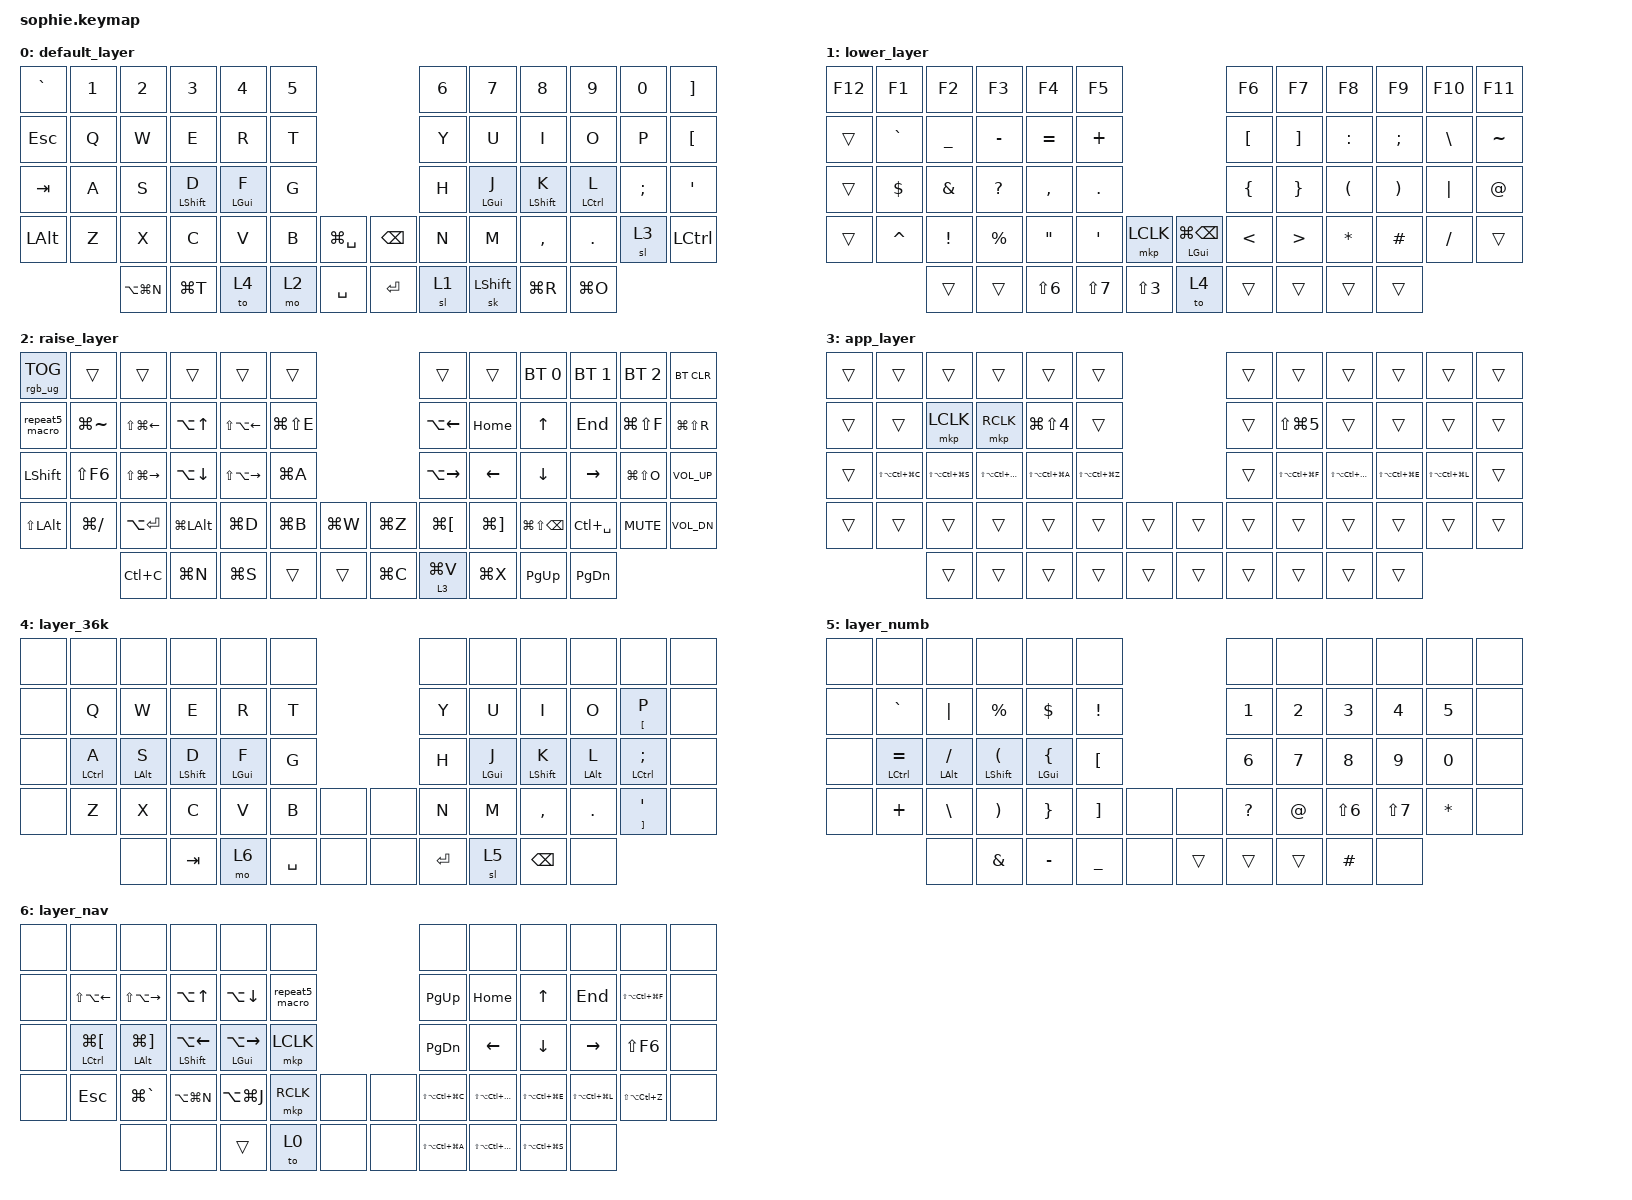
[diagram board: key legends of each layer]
/*
 * Copyright (c) 2020 The ZMK Contributors
 *
 * SPDX-License-Identifier: MIT
 */

#include <behaviors.dtsi>
#include <dt-bindings/zmk/bt.h>
#include <dt-bindings/zmk/keys.h>
#include <dt-bindings/zmk/mouse.h>
#include <dt-bindings/zmk/rgb.h>

/ {
    macros {
        lm: lm {
            compatible = "zmk,behavior-macro-two-param";
            wait-ms = <0>;
            tap-ms = <0>;
            #binding-cells = <2>;
            bindings =
                <&macro_param_1to1>,
                <&macro_press>,
                <&mo MACRO_PLACEHOLDER &macro_param_2to1>,
                <&macro_press>,
                <&kp MACRO_PLACEHOLDER>,
                <&macro_pause_for_release>,
                <&macro_param_2to1>,
                <&macro_release>,
                <&kp MACRO_PLACEHOLDER &macro_param_1to1>,
                <&macro_release>,
                <&mo MACRO_PLACEHOLDER>;
        };

        repeat5_macro: repeat5_macro {
            compatible = "zmk,behavior-macro";
            #binding-cells = <0>;
            bindings = <&key_repeat &key_repeat &key_repeat &key_repeat &key_repeat>;
            label = "REPEAT5_MACRO";
        };
    };

    combos { compatible = "zmk,combos"; };

    behaviors {
        hmr: hmr {
            compatible = "zmk,behavior-hold-tap";
            label = "HMR";
            bindings = <&kp>, <&kp>;

            #binding-cells = <2>;
            tapping-term-ms = <280>;
            quick-tap-ms = <175>;
            flavor = "balanced";
            hold-trigger-on-release;
            hold-trigger-key-positions = <0 1 2 3 4 5 12 13 14 15 16 17 24 25 26 27 28 29 36 37 38 39 40 41 42 50 51 52 53 54 55 56 57 58 59 43>;
        };

        hml: hml {
            compatible = "zmk,behavior-hold-tap";
            label = "HML";
            bindings = <&kp>, <&kp>;

            #binding-cells = <2>;
            tapping-term-ms = <280>;
            quick-tap-ms = <175>;
            flavor = "balanced";
            hold-trigger-on-release;
            hold-trigger-key-positions = <6 7 8 9 10 11 18 19 20 21 22 23 30 31 32 33 34 35 44 45 46 47 48 49 55 56 57 58 59 43 42 50 51 52 53 54>;
        };
    };

    keymap {
        compatible = "zmk,keymap";

        default_layer {
            // |-------+-------+-------+-------+-------+-------|                                    |-------+-------+-------+-------+-------+-------|
            // |   ~   |   !   |   @   |   #   |   $   |   %   |                                    |   ^   |   &   |   *   |   (   |   )   |   }   |
            // |   `   |   1   |   2   |   3   |   4   |   5   |                                    |   6   |   7   |   8   |   9   |   0   |   ]   |
            // |-------+-------+-------+-------+-------+-------|                                    |-------+-------+-------+-------+-------+-------|
            // |  ESC  |   Q   |   W   |   E   |   R   |   T   |                                    |   Y   |   U   |   I   |   O   |   P   |   {   |
            // |       |       |       |       |       |       |                                    |       |       |       |       |       |   [   |
            // |-------+-------+-------+-------+-------+-------|                                    |-------+-------+-------+-------+-------+-------|
            // |  TAB  |   A   |   S   |   D   |   F   |   G   |                                    |   H   |   J   |   K   |   L   |   :   |   "   |
            // |       |       |       |       |       |       |                                    |       |       |       |       |   ;   |   '   |
            // |-------+-------+-------+-------+-------+-------+-------|                    |-------+-------+-------+-------+-------+-------+-------|
            // |  ALT  |   Z   |   X   |   C   |   V   |   B   | LANG  |                    | BKSPC |   N   |   M   |   <   |   >   | MUTE  | CTRL  |
            // |       |       |       |       |       |       |       |                    |       |       |       |   ,   |   .   |       |       |
            // |-------+-------+-------+-------+-------+-------+-------+-------|    |-------+-------+-------+-------+-------+-------+-------+-------|
            //                         | PASTE | COPY  |  GUI  | RAISE | SPACE |    | ENTER | LOWER | SHIFT | UNDO  |  CUT  |
            //                         |       |       |       |       |       |    |       |       |       |       |       |
            //                         |-------+-------+-------+-------+-------|    |-------+-------+-------+-------+-------|

            bindings = <
&kp GRAVE  &kp N1  &kp N2         &kp N3            &kp N4      &kp N5                            &kp N6  &kp N7      &kp N8            &kp N9              &kp N0    &kp RBKT
&kp ESC    &kp Q   &kp W          &kp E             &kp R       &kp T                             &kp Y   &kp U       &kp I             &kp O               &kp P     &kp LBKT
&kp TAB    &kp A   &kp S          &mt LEFT_SHIFT D  &mt LGUI F  &kp G                             &kp H   &mt LGUI J  &mt LEFT_SHIFT K  &mt LEFT_CONTROL L  &kp SEMI  &kp SQT
&kp LALT   &kp Z   &kp X          &kp C             &kp V       &kp B   &kp LG(SPACE)  &kp BSPC   &kp N   &kp M       &kp COMMA         &kp DOT             &sl 3     &kp LCTRL
                   &kp LA(LG(N))  &kp LG(T)         &to 4       &mo 2   &kp SPACE      &kp ENTER  &sl 1   &sk LSHFT   &kp LG(R)         &kp LG(O)
            >;
        };

        lower_layer {
            // |-------+-------+-------+-------+-------+-------|                                    |-------+-------+-------+-------+-------+-------|
            // |  F12  |   F1  |   F2  |   F3  |   F4  |   F5  |                                    |   F6  |   F7  |   F8  |   F9  |   F10 |   F11 |
            // |       |       |       |       |       |       |                                    |       |       |       |       |       |       |
            // |-------+-------+-------+-------+-------+-------|                                    |-------+-------+-------+-------+-------+-------|
            // |  ESC  |   `   |   _   |   -   |   =   |   +   |                                    |   [   |   ]   |   :   |   ;   |   \   |   ~   |
            // |       |       |       |       |       |       |                                    |       |       |       |       |       |       |
            // |-------+-------+-------+-------+-------+-------|                                    |-------+-------+-------+-------+-------+-------|
            // |  TAB  |   $   |   &   |   ?   |   ,   |   .   |                                    |   {   |   }   |   (   |   )   |   |   |   @   |
            // |       |       |       |       |       |       |                                    |       |       |       |       |       |       |
            // |-------+-------+-------+-------+-------+-------+-------|                    |-------+-------+-------+-------+-------+-------+-------|
            // |  ALT  |   ^   |   !   |   %   |   "   |   '   | COPY  |                    | PASTE |   <   |   >   |   *   |   #   |   /   | PAUSE |
            // |       |       |       |       |       |       |       |                    |       |       |       |       |       |       |       |
            // |-------+-------+-------+-------+-------+-------+-------+-------|    |-------+-------+-------+-------+-------+-------+-------+-------|
            //                         | PASTE | COPY  |  GUI  | RAISE | SPACE |    | ENTER | LOWER | SHIFT | UNDO  |  CUT  |
            //                         |       |       |       |       |       |    |       |       |       |       |       |
            //                         |-------+-------+-------+-------+-------|    |-------+-------+-------+-------+-------|

            bindings = <
&kp F12  &kp F1     &kp F2     &kp F3     &kp F4      &kp F5                                              &kp F6    &kp F7    &kp F8     &kp F9    &kp F10   &kp F11
&trans   &kp GRAVE  &kp UNDER  &kp MINUS  &kp EQUAL   &kp PLUS                                            &kp LBKT  &kp RBKT  &kp COLON  &kp SEMI  &kp BSLH  &kp TILDE
&trans   &kp DLLR   &kp AMPS   &kp QMARK  &kp COMMA   &kp DOT                                             &kp LBRC  &kp RBRC  &kp LPAR   &kp RPAR  &kp PIPE  &kp AT
&trans   &kp CARET  &kp EXCL   &kp PRCNT  &kp DQT     &kp SQT     &mkp LCLK   &mt LEFT_GUI LG(BACKSPACE)  &kp LT    &kp GT    &kp STAR   &kp HASH  &kp FSLH  &trans
                    &trans     &trans     &kp LS(N6)  &kp LS(N7)  &kp LS(N3)  &to 4                       &trans    &trans    &trans     &trans
            >;
        };

        raise_layer {
            // |-------+-------+-------+-------+-------+-------|                                    |-------+-------+-------+-------+-------+-------|
            // | RGB   |  1    |    2  | SCRN  |  SCRN |  SCRN |                                    |   ^   |   &   |  BT0  |  BT1  |  BT2  |  BT   |
            // |       |       |       |   3   |   4   |   5   |                                    |   6   |   7   |       |       |       | CLEAR |
            // |-------+-------+-------+-------+-------+-------|                                    |-------+-------+-------+-------+-------+-------|
            // |  ESC  | SWITCH|SEL ALL| UNSEL |SEL WRD|NXT WRD|                                    |REPLACE|  HOME |   UP  |  END  |  PGUP | PAUSE |
            // |       | WINDOW|  LEFT | SCOPE |  LEFT |  LEFT |                                    |       |       |       |       |       |   [   |
            // |-------+-------+-------+-------+-------+-------|                                    |-------+-------+-------+-------+-------+-------|
            // |  TAB  | RENAME|SEL ALL|  SEL  |SEL WRD|NXT WRD|                                    |  LAST |  LEFT |  DOWN | RIGHT |  PGDN |  VOL  |
            // |       |       | RIGHT | SCOPE | RIGHT | RIGHT |                                    |  EDIT |       |       |       |       |  UP   |
            // |-------+-------+-------+-------+-------+-------+-------|                    |-------+-------+-------+-------+-------+-------+-------|
            // |  ALT  |COMMENT|COMMENT| GO TO |CHANGE | DPLCT |COPY   |                    | PASTE | PREV  | NEXT  | SHOW  | SHOW  | MUTE  |  VOL  |
            // |       |       |BLOCK  | SRC   |LINE   |       |       |                    |       | PLACE | PLACE | NEXT  | VARS  |       |  DOWN |
            // |-------+-------+-------+-------+-------+-------+-------+-------|    |-------+-------+-------+-------+-------+-------+-------+-------|
            //                         | PASTE | COPY  |  GUI  | RAISE | SPACE |    |IMPORTS| LOWER | SHIFT | UNDO  |  CUT  |
            //                         |       |       |       |       |       |    |       |       |       |       |       |
            //                         |-------+-------+-------+-------+-------|    |-------+-------+-------+-------+-------|

            bindings = <
&rgb_ug RGB_TOG  &trans         &trans             &trans        &trans             &trans                               &trans         &trans        &bt BT_SEL 0      &bt BT_SEL 1   &bt BT_SEL 2   &bt BT_CLR
&repeat5_macro   &kp LG(TILDE)  &kp LS(LG(LEFT))   &kp LA(UP)    &kp LS(LA(LEFT))   &kp LG(LS(E))                        &kp LA(LEFT)   &kp HOME      &kp UP            &kp END        &kp LG(LS(F))  &kp LG(LS(R))
&kp LEFT_SHIFT   &kp LS(F6)     &kp LS(LG(RIGHT))  &kp LA(DOWN)  &kp LS(LA(RIGHT))  &kp LG(A)                            &kp LA(RIGHT)  &kp LEFT      &kp DOWN          &kp RIGHT      &kp LG(LS(O))  &kp C_VOL_UP
&kp LS(LALT)     &kp LG(FSLH)   &kp LA(ENTER)      &kp LG(LALT)  &kp LG(D)          &kp LG(B)      &kp LG(W)  &kp LG(Z)  &kp LG(LBKT)   &kp LG(RBKT)  &kp LG(LS(BSPC))  &kp LC(SPACE)  &kp C_MUTE     &kp C_VOL_DN
                                &kp LC(C)          &kp LG(N)     &kp LG(S)          &trans         &trans     &kp LG(C)  &lt 3 LG(V)    &kp LG(X)     &kp PAGE_UP       &kp PAGE_DOWN
            >;
        };

        app_layer {
            bindings = <
&trans  &trans                 &trans                 &trans                 &trans                 &trans                                 &trans  &trans                 &trans                 &trans                 &trans                 &trans
&trans  &trans                 &mkp LCLK              &mkp RCLK              &kp LG(LS(N4))         &trans                                 &trans  &kp LS(LG(N5))         &trans                 &trans                 &trans                 &trans
&trans  &kp LS(LA(LC(LG(C))))  &kp LS(LA(LC(LG(S))))  &kp LS(LA(LC(LG(W))))  &kp LS(LA(LC(LG(A))))  &kp LS(LA(LC(LG(Z))))                  &trans  &kp LS(LA(LC(LG(F))))  &kp LS(LA(LC(LG(M))))  &kp LS(LA(LC(LG(E))))  &kp LS(LA(LC(LG(L))))  &trans
&trans  &trans                 &trans                 &trans                 &trans                 &trans                 &trans  &trans  &trans  &trans                 &trans                 &trans                 &trans                 &trans
                               &trans                 &trans                 &trans                 &trans                 &trans  &trans  &trans  &trans                 &trans                 &trans
            >;
        };

        layer_36k {
            bindings = <
&none  &none         &none            &none              &none        &none                    &none      &none        &none              &none            &none                  &none
&none  &kp Q         &kp W            &kp E              &kp R        &kp T                    &kp Y      &kp U        &kp I              &kp O            &mt LEFT_BRACKET P     &none
&none  &hml LCTRL A  &hml LEFT_ALT S  &hml LEFT_SHIFT D  &hml LGUI F  &kp G                    &kp H      &hmr LGUI J  &hmr LEFT_SHIFT K  &hmr LEFT_ALT L  &hmr LCTRL SEMI        &none
&none  &kp Z         &kp X            &kp C              &kp V        &kp B      &none  &none  &kp N      &kp M        &kp COMMA          &kp DOT          &mt RIGHT_BRACKET SQT  &none
                     &none            &kp TAB            &mo 6        &kp SPACE  &none  &none  &kp ENTER  &sl 5        &kp BACKSPACE      &none
            >;
        };

        layer_numb {
            bindings = <
&none  &none             &none                &none                        &none                 &none                             &none         &none         &none             &none         &none         &none
&none  &kp GRAVE         &kp PIPE             &kp PERCENT                  &kp DOLLAR            &kp EXCLAMATION                   &kp NUMBER_1  &kp NUMBER_2  &kp NUMBER_3      &kp NUMBER_4  &kp N5        &none
&none  &hml LCTRL EQUAL  &hml LEFT_ALT SLASH  &hml LSHFT LEFT_PARENTHESIS  &hml LGUI LEFT_BRACE  &kp LEFT_BRACKET                  &kp NUMBER_6  &kp NUMBER_7  &kp NUMBER_8      &kp NUMBER_9  &kp NUMBER_0  &none
&none  &kp PLUS          &kp BACKSLASH        &kp RIGHT_PARENTHESIS        &kp RIGHT_BRACE       &kp RIGHT_BRACKET  &none  &none   &kp QUESTION  &kp AT_SIGN   &kp LS(NUMBER_6)  &kp LS(N7)    &kp ASTERISK  &none
                         &none                &kp AMPERSAND                &kp MINUS             &kp UNDERSCORE     &none  &trans  &trans        &trans        &kp POUND         &none
            >;
        };

        layer_nav {
            bindings = <
&none  &none                        &none                        &none                       &none                      &none                         &none                  &none                  &none                  &none                  &none                  &none
&none  &kp LS(LA(LEFT_ARROW))       &kp LS(LA(RIGHT_ARROW))      &kp LA(UP_ARROW)            &kp LA(DOWN_ARROW)         &repeat5_macro                &kp PAGE_UP            &kp HOME               &kp UP                 &kp END                &kp LS(LA(LC(LG(F))))  &none
&none  &hml LCTRL LG(LEFT_BRACKET)  &hml LALT LG(RIGHT_BRACKET)  &hml LSHIFT LA(LEFT_ARROW)  &hml LGUI LA(RIGHT_ARROW)  &mkp LCLK                     &kp PG_DN              &kp LEFT               &kp DOWN               &kp RIGHT              &kp LS(F6)             &none
&none  &kp ESCAPE                   &kp LG(GRAVE)                &kp LA(LG(N))               &kp LA(LG(J))              &mkp RCLK       &none  &none  &kp LS(LA(LC(LG(C))))  &kp LS(LA(LC(LG(M))))  &kp LS(LA(LC(LG(E))))  &kp LS(LA(LC(LG(L))))  &kp LS(LA(LC(Z)))      &none
                                    &none                        &none                       &trans                     &to 0           &none  &none  &kp LS(LA(LC(LG(A))))  &kp LS(LA(LC(LG(W))))  &kp LS(LA(LC(LG(S))))  &none
            >;
        };
    };
};
